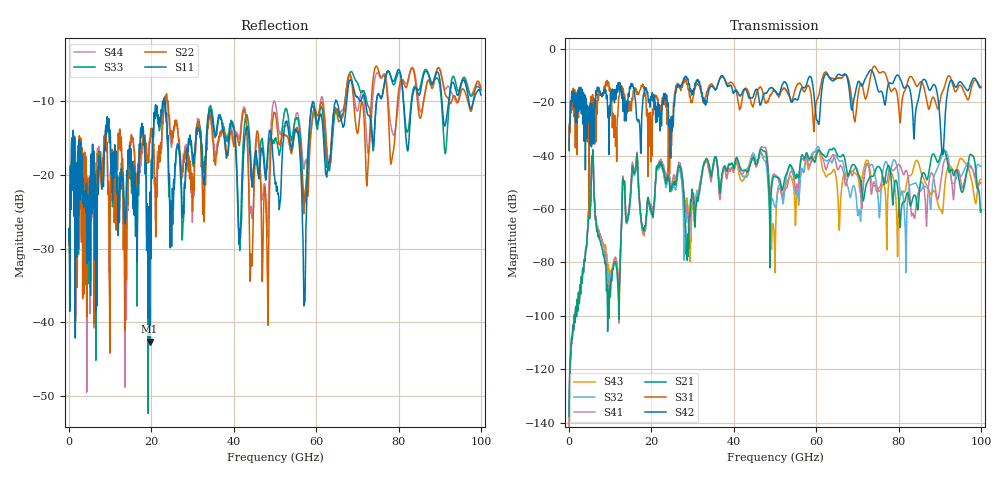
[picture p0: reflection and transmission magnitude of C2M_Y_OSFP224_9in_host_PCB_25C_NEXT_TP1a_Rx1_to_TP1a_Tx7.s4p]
# GHz S RI R 45
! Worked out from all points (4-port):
!   4000 points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, 25 MHz to 100 GHz, reference 45 ohm
!   strongest paths, dB at 25 MHz, 25.02 GHz, 50.02 GHz, 75.03 GHz, 100 GHz:
!     S42: -38.2, -30.2, -15.9, -15.6, -14.6
!     S31: -37.8, -28.2, -15.7, -8.5, -14.2
!     S21: -137.7, -51.4, -47.8, -44.1, -60.2
!     S41: -142.5, -49.8, -47.2, -52.7, -50.3
!     S32: -136.6, -52.4, -59.1, -55.6, -44.1
!     S43: -140.8, -50.9, -83.0, -52.5, -48.9
!   lowest |S11| = -42.7 dB at 19.57 GHz (marker M1), VSWR 1.01, Z = 44.3 - j0.0195 ohm
!   |S11| at or under -10 dB: start of sweep to 22.69 GHz; 23.39 GHz to 64.65 GHz (41.26 GHz wide, 93.7 % of centre); 71.97 GHz to 74.65 GHz (2.681 GHz wide, 3.66 % of centre) (the widest 3 of 10)
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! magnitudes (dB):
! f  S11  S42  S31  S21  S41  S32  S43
! 25 MHz  -29.1  -38.2  -37.8  -137.7  -142.5  -136.6  -140.8
! 5.725 GHz  -15.8  -30.5  -17.1  -40.3  -40.2  -40.1  -40.0
! 9.5 GHz  -13.7  -22.4  -13.2  -90.9  -87.4  -84.1  -80.7
! 16.12 GHz  -26.8  -19.2  -16.0  -45.8  -44.8  -46.4  -45.4
! 19.57 GHz  -42.7  -20.3  -35.9  -58.2  -57.4  -59.1  -58.3
! 64.08 GHz  -12.5  -12.0  -11.2  -37.4  -39.6  -41.7  -45.5
! 100 GHz  -9.1  -14.6  -14.2  -60.2  -50.3  -44.1  -48.9
